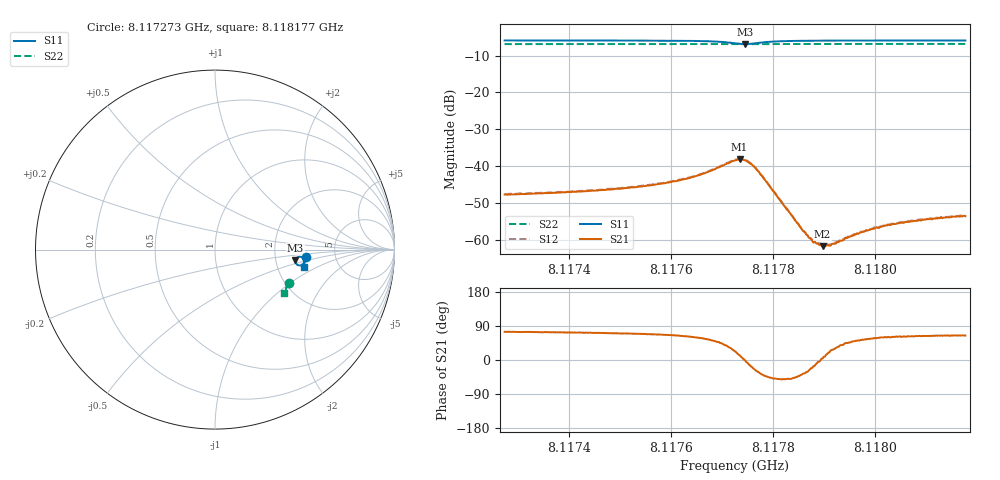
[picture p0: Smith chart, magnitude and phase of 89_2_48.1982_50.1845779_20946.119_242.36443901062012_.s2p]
#  HZ  S  RI  R  50.00
! Rohde & Schwarz Vector Network Analyzer
! Rohde-Schwarz,ZNB20-2Port,1311601062101988,3.16
! Created: UTC 3/20/2024, 11:40:01 AM
! freq[Hz]  re:S11  im:S11  re:S21  im:S21  re:S12  im:S12  re:S22  im:S22
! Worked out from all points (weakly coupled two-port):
!   401 points, 8.117273 GHz to 8.118177 GHz, reference 50 ohm
!   highest |S21| = -38.13 dB at 8.117734 GHz (marker M1); lowest = -61.6 dB at 8.117897 GHz (marker M2)
!   lowest |S11| = -6.9 dB at 8.117746 GHz (marker M3), VSWR 2.65, Z = 129 - j19.6 ohm
!   |S11| at or under -10 dB: nowhere
!   |S22| runs from -6.9 to -6.9 dB; largest |S21 - S12| = 0.00047
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8.1172729e9  0.5043 -0.0385  0.00111 0.004  0.00116 0.00407  0.4106 -0.1875
8.1174244e9  0.5024 -0.0518  0.00139 0.00436  0.00146 0.00442  0.4064 -0.1973
8.1175036e9  0.5008 -0.0596  0.00173 0.00471  0.00179 0.00482  0.4042 -0.2023
8.1175759e9  0.4983 -0.068  0.0022 0.00533  0.0023 0.00543  0.4019 -0.207
8.1176144e9  0.4957 -0.0734  0.00279 0.00579  0.00292 0.0059  0.4008 -0.2097
8.1176506e9  0.4912 -0.0796  0.00382 0.00641  0.00392 0.00655  0.3995 -0.2121
8.1177252e9  0.4559 -0.0824  0.0111 0.00472  0.0115 0.00472  0.3956 -0.2162
8.1177342e9  0.4499 -0.0744  0.0121 0.00266  0.0123 0.00267  0.3952 -0.2163
8.1177455e9  0.4478 -0.0606  0.0121 -0.000443  0.0122 -0.000645  0.3949 -0.2163
8.1177546e9  0.4521 -0.05  0.0106 -0.00267  0.0109 -0.00281  0.3951 -0.2165
8.1177682e9  0.4644 -0.0411  0.00777 -0.00443  0.0079 -0.00466  0.3953 -0.217
8.1178541e9  0.4966 -0.0586  0.00115 -0.000945  0.00112 -0.000985  0.3939 -0.2232
8.1178699e9  0.4974 -0.0618  0.000963 -0.00051  0.000977 -0.000512  0.3934 -0.2243
8.1178767e9  0.4977 -0.063  0.000915 -0.000348  0.000952 -0.000381  0.3932 -0.2248
8.1178835e9  0.4978 -0.0641  0.000903 -0.000187  0.000938 -0.000204  0.3929 -0.2253
8.1178971e9  0.4983 -0.0663  0.00083 5.63e-05  0.000857 9.39e-05  0.3925 -0.2263
8.1179129e9  0.4984 -0.0686  0.000769 0.000358  0.000815 0.000319  0.3919 -0.2271
8.1179785e9  0.4983 -0.0769  0.00078 0.00105  0.000816 0.00104  0.3899 -0.2314
8.1179988e9  0.4982 -0.079  0.000771 0.00122  0.000832 0.00127  0.3892 -0.2326
8.1180282e9  0.4979 -0.082  0.000807 0.00139  0.000832 0.0014  0.3882 -0.2346
8.1180983e9  0.497 -0.0885  0.000855 0.00172  0.000851 0.00176  0.3858 -0.2389
8.1181775e9  0.4959 -0.0955  0.000912 0.00191  0.000952 0.00195  0.383 -0.2437
